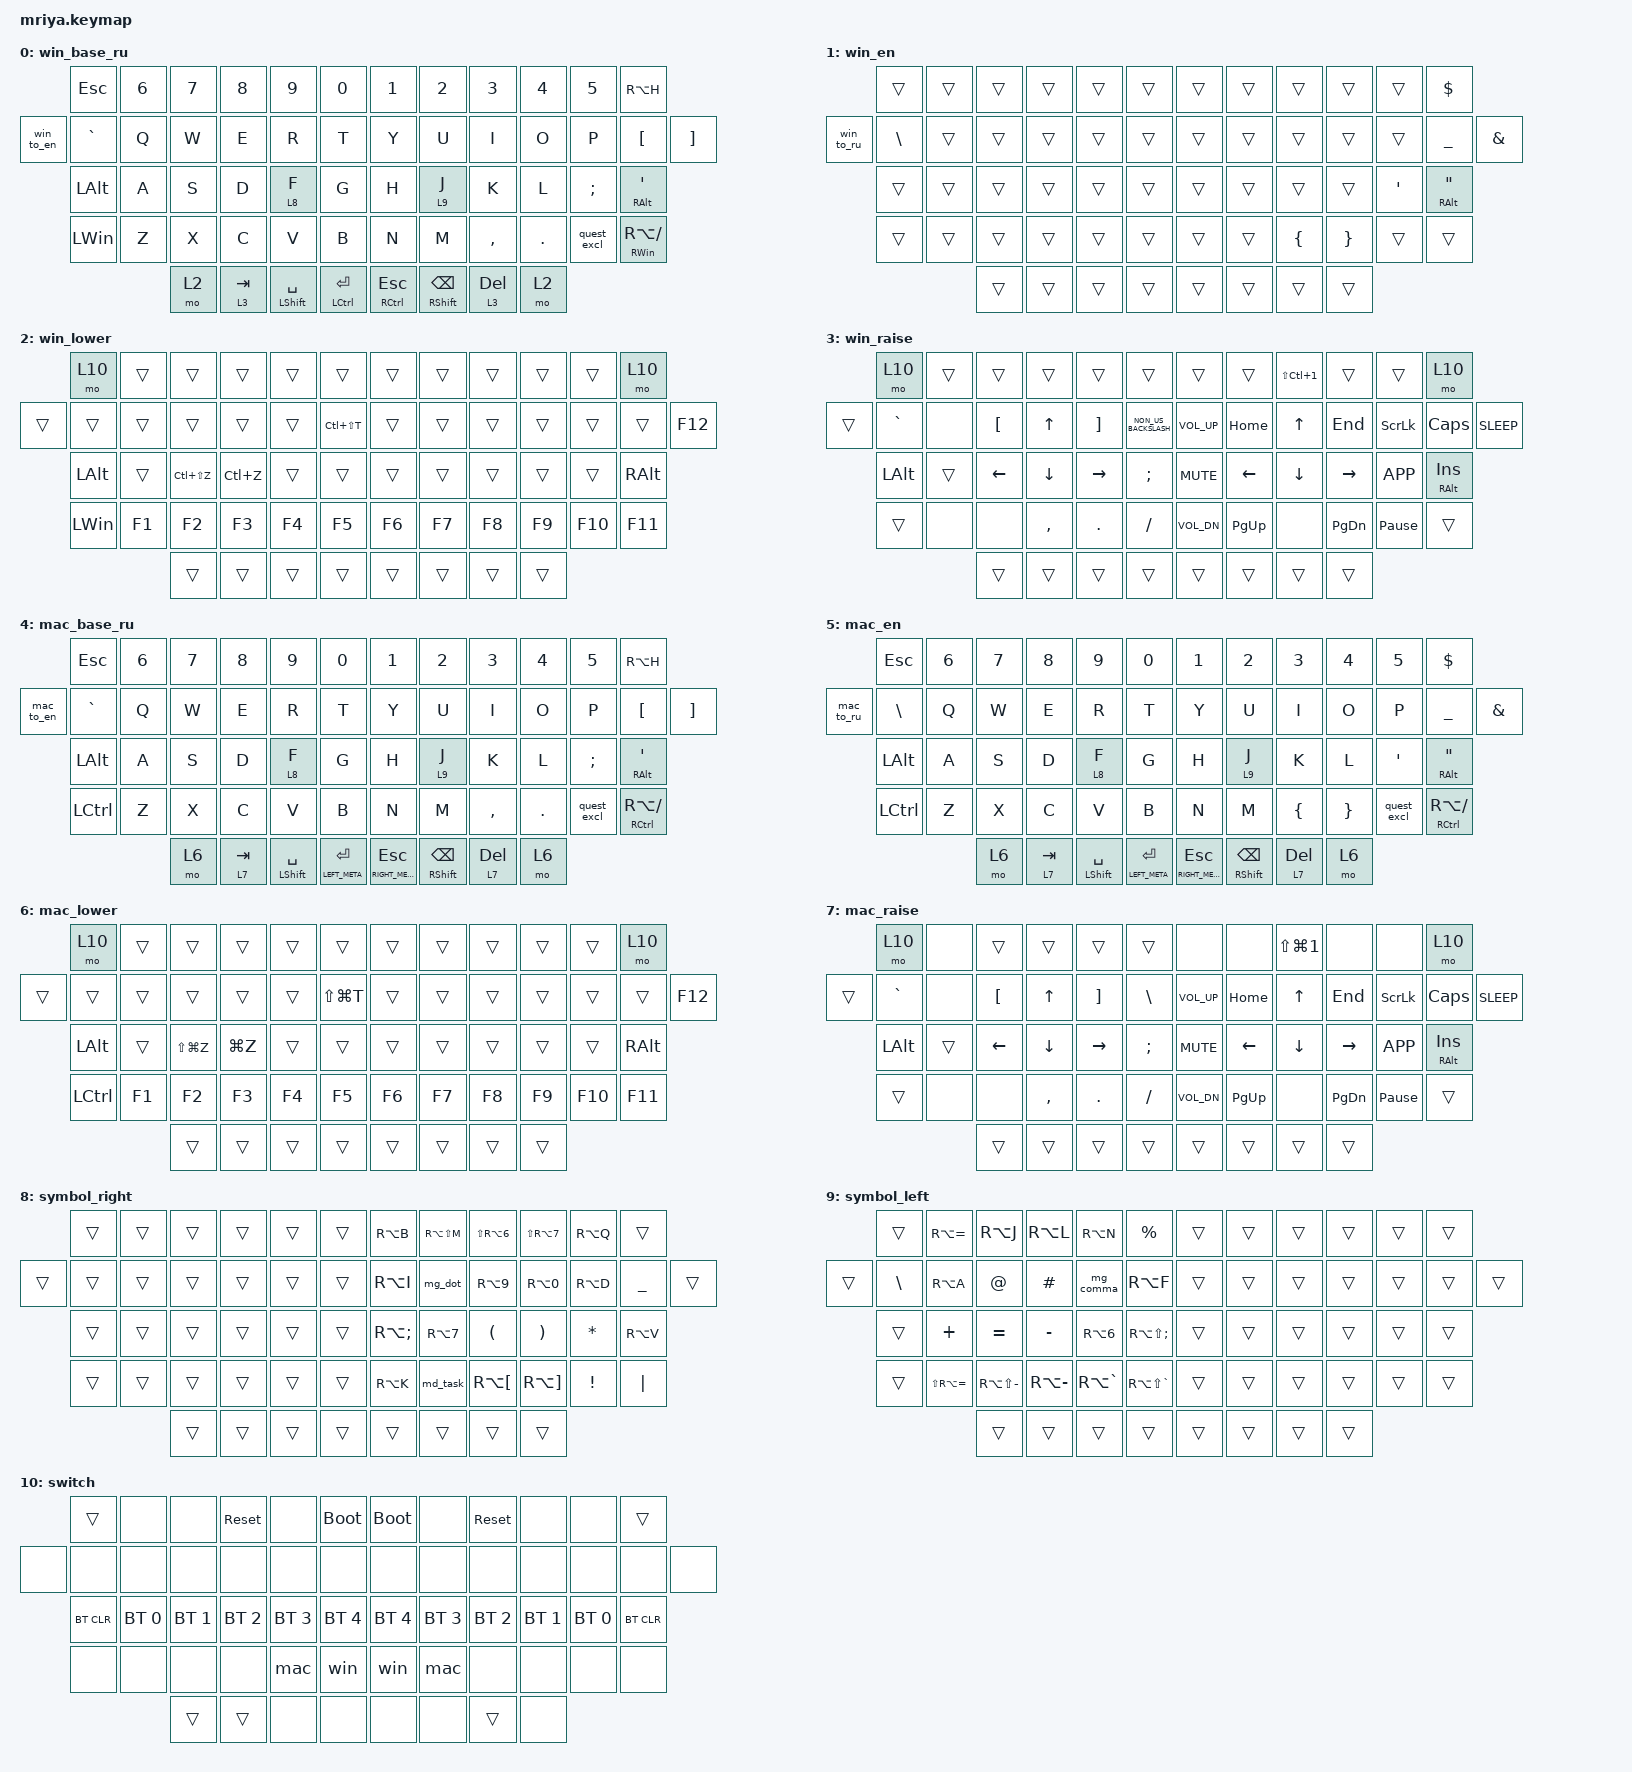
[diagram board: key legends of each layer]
/*
 * Copyright (c) 2023 Andrei Gaevskii
 *
 * SPDX-License-Identifier: MIT
 */

#include <behaviors.dtsi>
#include <dt-bindings/zmk/bt.h>
#include <dt-bindings/zmk/keys.h>

#define DEF 0
#define LWR 1
#define RSE 2
#define ADJ 3

&lt { quick_tap_ms = <200>; };

&mt { quick_tap_ms = <200>; };

&sk { quick-release; };

/ {
    macros {
        mac: mac {
            compatible = "zmk,behavior-macro";
            #binding-cells = <0>;
            bindings = <&bt BT_SEL 3 &mac_to_ru>;
            label = "MAC";
        };

        win: win {
            compatible = "zmk,behavior-macro";
            #binding-cells = <0>;
            bindings = <&bt BT_SEL 4 &win_to_ru>;
            label = "WIN";
        };

        m_dash: m_dash {
            compatible = "zmk,behavior-macro";
            #binding-cells = <0>;
            bindings =
                <&macro_press>,
                <&kp LEFT_ALT>,
                <&macro_tap>,
                <&kp KP_NUMBER_0 &kp KP_NUMBER_1 &kp KP_NUMBER_5 &kp KP_NUMBER_1>,
                <&macro_release>,
                <&kp LEFT_ALT>;

            label = "M_DASH";
            wait-ms = <2>;
            tap-ms = <5>;
        };

        win_to_en: win_to_en {
            compatible = "zmk,behavior-macro";
            #binding-cells = <0>;
            bindings =
                <&macro_press>,
                <&kp LEFT_ALT &kp LEFT_SHIFT>,
                <&macro_tap>,
                <&kp N1>,
                <&macro_release>,
                <&kp LEFT_ALT &kp LEFT_SHIFT>,
                <&macro_press>,
                <&to 1>;

            label = "WIN_TO_EN";
            wait-ms = <5>;
            tap-ms = <5>;
        };

        win_to_ru: win_to_ru {
            compatible = "zmk,behavior-macro";
            #binding-cells = <0>;
            bindings =
                <&macro_press>,
                <&kp LEFT_ALT &kp LEFT_SHIFT>,
                <&macro_tap>,
                <&kp N2>,
                <&macro_release>,
                <&kp LEFT_ALT &kp LEFT_SHIFT>,
                <&macro_press>,
                <&to 0>;

            label = "WIN_TO_RU";
            wait-ms = <5>;
            tap-ms = <5>;
        };

        mg_dot: mg_dot {
            compatible = "zmk,behavior-macro";
            #binding-cells = <0>;
            bindings = <&kp RA(N7) &kp SPACE &sk LEFT_SHIFT>;
            label = "MG_DOT";
            wait-ms = <2>;
            tap-ms = <5>;
        };

        win_dot: win_dot {
            compatible = "zmk,behavior-macro";
            #binding-cells = <0>;
            bindings =
                <&macro_press>,
                <&kp LEFT_ALT>,
                <&macro_tap>,
                <&kp KP_NUMBER_4 &kp KP_NUMBER_6>,
                <&macro_release>,
                <&kp LEFT_ALT>;

            label = "WIN_DOT";
            wait-ms = <2>;
            tap-ms = <5>;
        };

        win_colon: win_colon {
            compatible = "zmk,behavior-macro";
            #binding-cells = <0>;
            bindings =
                <&macro_press>,
                <&kp LEFT_ALT>,
                <&macro_tap>,
                <&kp KP_NUMBER_5 &kp KP_NUMBER_8>,
                <&macro_release>,
                <&kp LEFT_ALT>;

            label = "WIN_COLON";
            wait-ms = <2>;
            tap-ms = <5>;
        };

        win_comma: win_comma {
            compatible = "zmk,behavior-macro";
            #binding-cells = <0>;
            bindings =
                <&macro_press>,
                <&kp LEFT_ALT>,
                <&macro_tap>,
                <&kp KP_NUMBER_4 &kp KP_NUMBER_4>,
                <&macro_release>,
                <&kp LEFT_ALT>;

            label = "WIN_COMMA";
            wait-ms = <2>;
            tap-ms = <5>;
        };

        mg_comma: mg_comma {
            compatible = "zmk,behavior-macro";
            #binding-cells = <0>;
            bindings = <&kp RA(NUMBER_6) &kp SPACE>;
            label = "MG_COMMA";
            wait-ms = <2>;
            tap-ms = <5>;
        };

        win_smcln: win_smcln {
            compatible = "zmk,behavior-macro";
            #binding-cells = <0>;
            bindings =
                <&macro_press>,
                <&kp LEFT_ALT>,
                <&macro_tap>,
                <&kp KP_NUMBER_5 &kp KP_NUMBER_9>,
                <&macro_release>,
                <&kp LEFT_ALT>;

            label = "WIN_SMCLN";
            wait-ms = <2>;
            tap-ms = <5>;
        };

        win_no: win_no {
            compatible = "zmk,behavior-macro";
            #binding-cells = <0>;
            bindings =
                <&macro_press>,
                <&kp LEFT_ALT>,
                <&macro_tap>,
                <&kp KP_NUMBER_2 &kp KP_NUMBER_5 &kp KP_NUMBER_2>,
                <&macro_release>,
                <&kp LEFT_ALT>;

            label = "WIN_NO";
            wait-ms = <2>;
            tap-ms = <5>;
        };

        win_tilde: win_tilde {
            compatible = "zmk,behavior-macro";
            #binding-cells = <0>;
            bindings =
                <&macro_press>,
                <&kp LEFT_ALT>,
                <&macro_tap>,
                <&kp KP_NUMBER_1 &kp KP_NUMBER_2 &kp KP_NUMBER_6>,
                <&macro_release>,
                <&kp LEFT_ALT>;

            label = "WIN_TILDE";
            wait-ms = <2>;
            tap-ms = <5>;
        };

        win_grave: win_grave {
            compatible = "zmk,behavior-macro";
            #binding-cells = <0>;
            bindings =
                <&macro_press>,
                <&kp LEFT_ALT>,
                <&macro_tap>,
                <&kp KP_NUMBER_9 &kp KP_NUMBER_6>,
                <&macro_release>,
                <&kp LEFT_ALT>;

            label = "WIN_GRAVE";
            wait-ms = <2>;
            tap-ms = <5>;
        };

        win_question: win_question {
            compatible = "zmk,behavior-macro";
            #binding-cells = <0>;
            bindings =
                <&macro_press>,
                <&kp LEFT_ALT>,
                <&macro_tap>,
                <&kp KP_NUMBER_6 &kp KP_NUMBER_3>,
                <&macro_release>,
                <&kp LEFT_ALT>;

            label = "WIN_QUESTION";
            wait-ms = <2>;
            tap-ms = <5>;
        };

        md_task: md_task {
            compatible = "zmk,behavior-macro";
            #binding-cells = <0>;
            bindings = <&kp MINUS &kp SPACE &kp RA(LEFT_BRACKET) &kp SPACE &kp RA(RIGHT_BRACKET) &kp SPACE>;
            label = "MD_TASK";
            wait-ms = <2>;
            tap-ms = <5>;
        };

        u_dot: u_dot {
            compatible = "zmk,behavior-macro";
            #binding-cells = <0>;
            bindings = <&kp N0 &kp N0 &kp N2 &kp E>;
            label = "U_DOT";
            wait-ms = <2>;
            tap-ms = <5>;
        };

        u_comma: u_comma {
            compatible = "zmk,behavior-macro";
            #binding-cells = <0>;
            bindings = <&kp N0 &kp N0 &kp N2 &kp C>;
            label = "U_COMMA";
            wait-ms = <2>;
            tap-ms = <5>;
        };

        win_compose: win_compose {
            compatible = "zmk,behavior-macro";
            #binding-cells = <0>;
            bindings = <&kp RIGHT_ALT &kp U>;
            label = "WIN_COMPOSE";
            wait-ms = <2>;
            tap-ms = <5>;
        };

        mac_to_en: mac_to_en {
            compatible = "zmk,behavior-macro";
            #binding-cells = <0>;
            bindings =
                <&macro_press>,
                <&kp LEFT_ALT &kp LEFT_SHIFT &kp LEFT_CONTROL>,
                <&macro_tap>,
                <&kp N1>,
                <&macro_release>,
                <&kp LEFT_ALT &kp LEFT_SHIFT &kp LEFT_CONTROL>,
                <&macro_press>,
                <&to 5>;

            label = "MAC_TO_EN";
            wait-ms = <5>;
            tap-ms = <5>;
        };

        mac_to_ru: mac_to_ru {
            compatible = "zmk,behavior-macro";
            #binding-cells = <0>;
            bindings =
                <&macro_press>,
                <&kp LEFT_ALT &kp LEFT_SHIFT &kp LEFT_CONTROL>,
                <&macro_tap>,
                <&kp NUMBER_2>,
                <&macro_release>,
                <&kp LEFT_ALT &kp LEFT_SHIFT &kp LEFT_CONTROL>,
                <&macro_press>,
                <&to 4>;

            label = "MAC_TO_RU";
            wait-ms = <5>;
            tap-ms = <5>;
        };
    };

    behaviors {
        lang_win: lang_win {
            compatible = "zmk,behavior-mod-morph";
            label = "LANG_WIN";
            bindings = <&win_to_ru>, <&win_to_en>;

            #binding-cells = <0>;
            mods = <(MOD_LSFT)>;
            keep-mods = <(MOD_LSFT)>;
        };

        Left_HRM: Left_HRM {
            compatible = "zmk,behavior-hold-tap";
            label = "LEFT_HRM";
            bindings = <&mo>, <&kp>;

            #binding-cells = <2>;
            tapping-term-ms = <220>;
            flavor = "balanced";
            hold-trigger-key-positions = <34 35 21 22 47 46 33 19 32 44 45 20 7 6 8 9 36 24 23 10 48 49 37>;
            quick-tap-ms = <175>;
            require-prior-idle-ms = <100>;
        };

        Right_HRM: Right_HRM {
            compatible = "zmk,behavior-hold-tap";
            label = "RIGHT_HRM";
            bindings = <&mo>, <&kp>;

            #binding-cells = <2>;
            tapping-term-ms = <220>;
            flavor = "balanced";
            quick-tap-ms = <175>;
            require-prior-idle-ms = <100>;
            hold-trigger-key-positions = <1 2 3 4 5 14 15 16 17 18 27 28 29 30 31 39 40 41 42 43 13>;
        };

        quest_excl: quest_excl {
            compatible = "zmk,behavior-mod-morph";
            label = "QUEST_EXCL";
            bindings = <&kp RA(LS(SLASH))>, <&kp EXCLAMATION>;

            #binding-cells = <0>;
            mods = <(MOD_LSFT)>;
            keep-mods = <(MOD_LSFT)>;
        };
    };

    combos { compatible = "zmk,combos"; };

    keymap {
        compatible = "zmk,keymap";

        win_base_ru {
            bindings = <
            &kp ESC       &kp NUMBER_6  &kp NUMBER_7  &kp N8     &kp N9                &kp NUMBER_0     &kp NUMBER_1   &kp NUMBER_2    &kp NUMBER_3  &kp NUMBER_4  &kp N5       &kp RA(H)
&win_to_en  &kp GRAVE     &kp Q         &kp W         &kp E      &kp R                 &kp T            &kp Y          &kp U           &kp I         &kp O         &kp P        &kp LBKT                 &kp RBKT
            &kp LALT      &kp A         &kp S         &kp D      &Left_HRM 8 F         &kp G            &kp H          &Right_HRM 9 J  &kp K         &kp L         &kp SEMI     &mt RALT SQT
            &kp LEFT_WIN  &kp Z         &kp X         &kp C      &kp V                 &kp B            &kp N          &kp M           &kp COMMA     &kp DOT       &quest_excl  &mt RIGHT_WIN RA(SLASH)
                                        &mo 2         &lt 3 TAB  &mt LEFT_SHIFT SPACE  &mt LCTRL RET    &mt RCTRL ESC  &mt RSHFT BSPC  &lt 3 DEL     &mo 2
            >;
        };

        win_en {
            bindings = <
            &trans         &trans  &trans  &trans  &trans  &trans    &trans  &trans  &trans          &trans           &trans   &kp DOLLAR
&win_to_ru  &kp BACKSLASH  &trans  &trans  &trans  &trans  &trans    &trans  &trans  &trans          &trans           &trans   &kp UNDERSCORE               &kp AMPERSAND
            &trans         &trans  &trans  &trans  &trans  &trans    &trans  &trans  &trans          &trans           &kp SQT  &mt RIGHT_ALT DOUBLE_QUOTES
            &trans         &trans  &trans  &trans  &trans  &trans    &trans  &trans  &kp LEFT_BRACE  &kp RIGHT_BRACE  &trans   &trans
                                   &trans  &trans  &trans  &trans    &trans  &trans  &trans          &trans
            >;
        };

        win_lower {
            bindings = <
        &mo 10    &trans  &trans         &trans     &trans  &trans           &trans  &trans  &trans  &trans  &trans   &mo 10
&trans  &trans    &trans  &trans         &trans     &trans  &kp LC(LS(T))    &trans  &trans  &trans  &trans  &trans   &trans    &kp F12
        &kp LALT  &trans  &kp LC(LS(Z))  &kp LC(Z)  &trans  &trans           &trans  &trans  &trans  &trans  &trans   &kp RALT
        &kp LWIN  &kp F1  &kp F2         &kp F3     &kp F4  &kp F5           &kp F6  &kp F7  &kp F8  &kp F9  &kp F10  &kp F11
                          &trans         &trans     &trans  &trans           &trans  &trans  &trans  &trans
            >;
        };

        win_raise {
            bindings = <
        &mo 10     &trans  &trans            &trans        &trans             &trans                  &trans        &trans       &kp LS(LC(NUMBER_1))  &trans     &trans           &mo 10
&trans  &kp GRAVE  &none   &kp LEFT_BRACKET  &kp UP_ARROW  &kp RIGHT_BRACKET  &kp NON_US_BACKSLASH    &kp C_VOL_UP  &kp HOME     &kp UP                &kp END    &kp SLCK         &kp CAPS         &kp C_SLEEP
        &kp LALT   &trans  &kp LEFT          &kp DOWN      &kp RIGHT          &kp SEMICOLON           &kp C_MUTE    &kp LEFT     &kp DOWN              &kp RIGHT  &kp K_APP        &mt RALT INSERT
        &trans     &none   &none             &kp COMMA     &kp PERIOD         &kp SLASH               &kp C_VOL_DN  &kp PAGE_UP  &none                 &kp PG_DN  &kp PAUSE_BREAK  &trans
                           &trans            &trans        &trans             &trans                  &trans        &trans       &trans                &trans
            >;
        };

        mac_base_ru {
            bindings = <
            &kp ESC    &kp NUMBER_6  &kp N7  &kp N8     &kp N9                &kp N0               &kp NUMBER_1        &kp NUMBER_2    &kp NUMBER_3  &kp NUMBER_4  &kp N5       &kp RA(H)
&mac_to_en  &kp GRAVE  &kp Q         &kp W   &kp E      &kp R                 &kp T                &kp Y               &kp U           &kp I         &kp O         &kp P        &kp LBKT                     &kp RBKT
            &kp LALT   &kp A         &kp S   &kp D      &Left_HRM 8 F         &kp G                &kp H               &Right_HRM 9 J  &kp K         &kp L         &kp SEMI     &mt RALT SQT
            &kp LCTRL  &kp Z         &kp X   &kp C      &kp V                 &kp B                &kp N               &kp M           &kp COMMA     &kp DOT       &quest_excl  &mt RIGHT_CONTROL RA(SLASH)
                                     &mo 6   &lt 7 TAB  &mt LEFT_SHIFT SPACE  &mt LEFT_META RET    &mt RIGHT_META ESC  &mt RSHFT BSPC  &lt 7 DEL     &mo 6
            >;
        };

        mac_en {
            bindings = <
            &kp ESC        &kp NUMBER_6  &kp N7  &kp N8     &kp N9                &kp N0               &kp NUMBER_1        &kp NUMBER_2    &kp NUMBER_3    &kp NUMBER_4     &kp N5       &kp DOLLAR
&mac_to_ru  &kp BACKSLASH  &kp Q         &kp W   &kp E      &kp R                 &kp T                &kp Y               &kp U           &kp I           &kp O            &kp P        &kp UNDERSCORE               &kp AMPERSAND
            &kp LALT       &kp A         &kp S   &kp D      &Left_HRM 8 F         &kp G                &kp H               &Right_HRM 9 J  &kp K           &kp L            &kp SQT      &mt RALT DOUBLE_QUOTES
            &kp LCTRL      &kp Z         &kp X   &kp C      &kp V                 &kp B                &kp N               &kp M           &kp LEFT_BRACE  &kp RIGHT_BRACE  &quest_excl  &mt RIGHT_CONTROL RA(SLASH)
                                         &mo 6   &lt 7 TAB  &mt LEFT_SHIFT SPACE  &mt LEFT_META RET    &mt RIGHT_META ESC  &mt RSHFT BSPC  &lt 7 DEL       &mo 6
            >;
        };

        mac_lower {
            bindings = <
        &mo 10     &trans  &trans         &trans     &trans  &trans           &trans  &trans  &trans  &trans  &trans   &mo 10
&trans  &trans     &trans  &trans         &trans     &trans  &kp LS(LG(T))    &trans  &trans  &trans  &trans  &trans   &trans    &kp F12
        &kp LALT   &trans  &kp LS(LG(Z))  &kp LG(Z)  &trans  &trans           &trans  &trans  &trans  &trans  &trans   &kp RALT
        &kp LCTRL  &kp F1  &kp F2         &kp F3     &kp F4  &kp F5           &kp F6  &kp F7  &kp F8  &kp F9  &kp F10  &kp F11
                           &trans         &trans     &trans  &trans           &trans  &trans  &trans  &trans
            >;
        };

        mac_raise {
            bindings = <
        &mo 10     &none   &trans            &trans        &trans             &trans           &none         &none        &kp LS(LG(NUMBER_1))  &none      &none            &mo 10
&trans  &kp GRAVE  &none   &kp LEFT_BRACKET  &kp UP_ARROW  &kp RIGHT_BRACKET  &kp BACKSLASH    &kp C_VOL_UP  &kp HOME     &kp UP                &kp END    &kp SLCK         &kp CAPS         &kp C_SLEEP
        &kp LALT   &trans  &kp LEFT          &kp DOWN      &kp RIGHT          &kp SEMICOLON    &kp C_MUTE    &kp LEFT     &kp DOWN              &kp RIGHT  &kp K_APP        &mt RALT INSERT
        &trans     &none   &none             &kp COMMA     &kp PERIOD         &kp SLASH        &kp C_VOL_DN  &kp PAGE_UP  &none                 &kp PG_DN  &kp PAUSE_BREAK  &trans
                           &trans            &trans        &trans             &trans           &trans        &trans       &trans                &trans
            >;
        };

        symbol_right {
            bindings = <
        &trans  &trans  &trans  &trans  &trans  &trans    &kp RA(B)          &kp RA(LS(M))  &kp LS(RA(NUMBER_6))  &kp LS(RA(NUMBER_7))   &kp RA(Q)        &trans
&trans  &trans  &trans  &trans  &trans  &trans  &trans    &kp RA(I)          &mg_dot        &kp RA(N9)            &kp RA(N0)             &kp RA(D)        &kp UNDERSCORE  &trans
        &trans  &trans  &trans  &trans  &trans  &trans    &kp RA(SEMICOLON)  &kp RA(N7)     &kp LEFT_PARENTHESIS  &kp RIGHT_PARENTHESIS  &kp ASTERISK     &kp RA(V)
        &trans  &trans  &trans  &trans  &trans  &trans    &kp RA(K)          &md_task       &kp RA(LEFT_BRACKET)  &kp RA(RIGHT_BRACKET)  &kp EXCLAMATION  &kp PIPE
                        &trans  &trans  &trans  &trans    &trans             &trans         &trans                &trans
            >;
        };

        symbol_left {
            bindings = <
        &trans         &kp RA(EQUAL)      &kp RA(J)          &kp RA(L)      &kp RA(N)         &kp PERCENT              &trans  &trans  &trans  &trans  &trans  &trans
&trans  &kp BACKSLASH  &kp RA(A)          &kp AT_SIGN        &kp HASH       &mg_comma         &kp RA(F)                &trans  &trans  &trans  &trans  &trans  &trans  &trans
        &trans         &kp PLUS           &kp EQUAL          &kp MINUS      &kp RA(NUMBER_6)  &kp RA(LS(SEMICOLON))    &trans  &trans  &trans  &trans  &trans  &trans
        &trans         &kp LS(RA(EQUAL))  &kp RA(LS(MINUS))  &kp RA(MINUS)  &kp RA(GRAVE)     &kp RA(LS(GRAVE))        &trans  &trans  &trans  &trans  &trans  &trans
                                          &trans             &trans         &trans            &trans                   &trans  &trans  &trans  &trans
            >;
        };

        switch {
            bindings = <
       &trans      &none         &none         &sys_reset    &none         &bootloader     &bootloader   &none         &sys_reset    &none         &none         &trans
&none  &none       &none         &none         &none         &none         &none           &none         &none         &none         &none         &none         &none       &none
       &bt BT_CLR  &bt BT_SEL 0  &bt BT_SEL 1  &bt BT_SEL 2  &bt BT_SEL 3  &bt BT_SEL 4    &bt BT_SEL 4  &bt BT_SEL 3  &bt BT_SEL 2  &bt BT_SEL 1  &bt BT_SEL 0  &bt BT_CLR
       &none       &none         &none         &none         &mac          &win            &win          &mac          &none         &none         &none         &none
                                 &trans        &trans        &none         &none           &none         &none         &trans        &none
            >;
        };
    };
};
